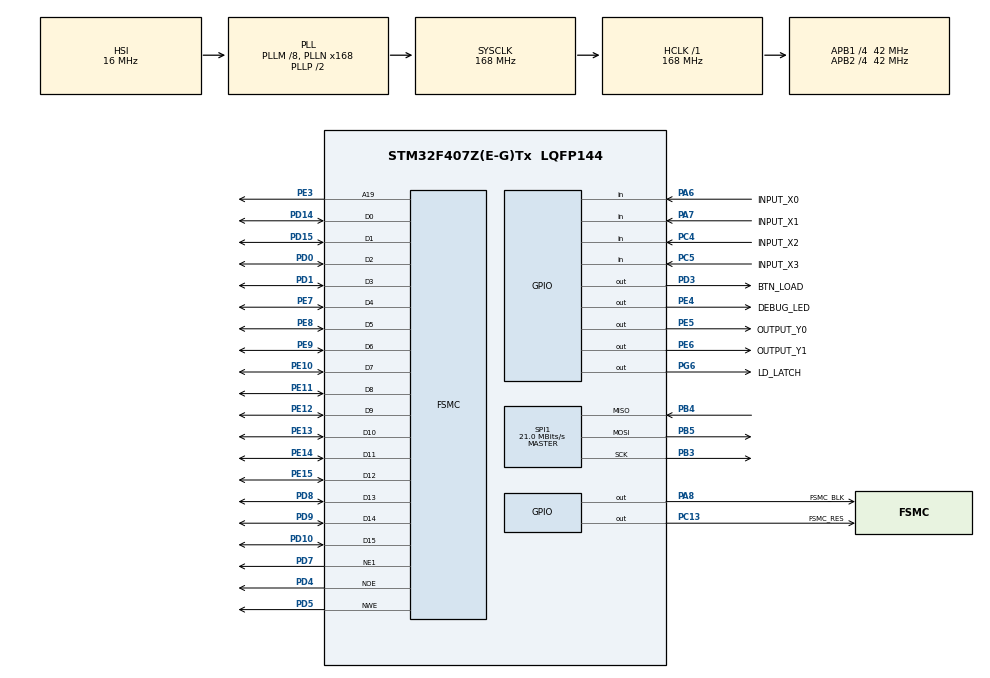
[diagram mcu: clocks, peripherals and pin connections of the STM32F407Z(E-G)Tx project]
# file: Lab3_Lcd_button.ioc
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FSMC.AddressSetupTime1=0xf
FSMC.BusTurnAroundDuration1=0
FSMC.DataSetupTime1=60
FSMC.ExtendedAddressSetupTime1=8
FSMC.ExtendedBusTurnAroundDuration1=0
FSMC.ExtendedDataSetupTime1=9
FSMC.ExtendedMode1=FSMC_EXTENDED_MODE_ENABLE
Mcu.Family=STM32F4
Mcu.Name=STM32F407Z(E-G)Tx
Mcu.Package=LQFP144
NVIC.PriorityGroup=NVIC_PRIORITYGROUP_4
NVIC.TIM2_IRQn=true\:0\:0\:false\:false\:true\:true\:true\:true
PA13.Mode=Serial_Wire
PA13.Signal=SYS_JTMS-SWDIO
PA14.Mode=Serial_Wire
PA14.Signal=SYS_JTCK-SWCLK
PA6.GPIO_Label=INPUT_X0
PA6.Signal=GPIO_Input
PA7.GPIO_Label=INPUT_X1
PA7.Signal=GPIO_Input
PA8.GPIO_Label=FSMC_BLK
PA8.Signal=GPIO_Output
PB3.Mode=Full_Duplex_Master
PB3.Signal=SPI1_SCK
PB4.Mode=Full_Duplex_Master
PB4.Signal=SPI1_MISO
PB5.Mode=Full_Duplex_Master
PB5.Signal=SPI1_MOSI
PC13-ANTI_TAMP.GPIO_Label=FSMC_RES
PC13-ANTI_TAMP.GPIO_PuPd=GPIO_PULLUP
PC13-ANTI_TAMP.Signal=GPIO_Output
PC4.GPIO_Label=INPUT_X2
PC4.Signal=GPIO_Input
PC5.GPIO_Label=INPUT_X3
PC5.Signal=GPIO_Input
PD0.Signal=FSMC_D2_DA2
PD1.Signal=FSMC_D3_DA3
PD10.Signal=FSMC_D15_DA15
PD14.Signal=FSMC_D0_DA0
PD15.Signal=FSMC_D1_DA1
PD3.GPIO_Label=BTN_LOAD
PD3.GPIO_PuPd=GPIO_PULLUP
PD3.Signal=GPIO_Output
PD4.Signal=FSMC_NOE
PD5.Signal=FSMC_NWE
PD7.Mode=NorPsramChipSelect1_1
PD7.Signal=FSMC_NE1
PD8.Signal=FSMC_D13_DA13
PD9.Signal=FSMC_D14_DA14
PE10.Signal=FSMC_D7_DA7
PE11.Signal=FSMC_D8_DA8
PE12.Signal=FSMC_D9_DA9
PE13.Signal=FSMC_D10_DA10
PE14.Signal=FSMC_D11_DA11
PE15.Signal=FSMC_D12_DA12
PE3.Signal=FSMC_A19
PE4.GPIO_Label=DEBUG_LED
PE4.GPIO_PuPd=GPIO_PULLUP
PE4.Signal=GPIO_Output
PE5.GPIO_Label=OUTPUT_Y0
PE5.GPIO_PuPd=GPIO_PULLUP
PE5.Signal=GPIO_Output
PE6.GPIO_Label=OUTPUT_Y1
PE6.GPIO_PuPd=GPIO_PULLUP
PE6.Signal=GPIO_Output
PE7.Signal=FSMC_D4_DA4
PE8.Signal=FSMC_D5_DA5
PE9.Signal=FSMC_D6_DA6
PG6.GPIO_Label=LD_LATCH
PG6.GPIO_PuPd=GPIO_PULLUP
PG6.Signal=GPIO_Output
PH0-OSC_IN.Mode=HSE-External-Oscillator
PH0-OSC_IN.Signal=RCC_OSC_IN
PH1-OSC_OUT.Mode=HSE-External-Oscillator
PH1-OSC_OUT.Signal=RCC_OSC_OUT
ProjectManager.HeapSize=0x200
ProjectManager.StackSize=0x400
ProjectManager.TargetToolchain=STM32CubeIDE
RCC.48MHZClocksFreq_Value=84000000
RCC.AHBFreq_Value=168000000
RCC.APB1CLKDivider=RCC_HCLK_DIV4
RCC.APB1Freq_Value=42000000
RCC.APB1TimFreq_Value=84000000
RCC.APB2CLKDivider=RCC_HCLK_DIV4
RCC.APB2Freq_Value=42000000
RCC.APB2TimFreq_Value=84000000
RCC.CortexFreq_Value=168000000
RCC.HCLKFreq_Value=168000000
RCC.HSE_VALUE=8000000
RCC.HSI_VALUE=16000000
RCC.LSE_VALUE=32768
RCC.PLLM=8
RCC.PLLN=168
RCC.SYSCLKFreq_VALUE=168000000
RCC.SYSCLKSource=RCC_SYSCLKSOURCE_PLLCLK
RCC.VCOOutputFreq_Value=336000000
SH.FSMC_A19.0=FSMC_A19,A19_1
SH.FSMC_D0_DA0.0=FSMC_D0,16b-d1
SH.FSMC_D10_DA10.0=FSMC_D10,16b-d1
SH.FSMC_D11_DA11.0=FSMC_D11,16b-d1
SH.FSMC_D12_DA12.0=FSMC_D12,16b-d1
SH.FSMC_D13_DA13.0=FSMC_D13,16b-d1
SH.FSMC_D14_DA14.0=FSMC_D14,16b-d1
SH.FSMC_D15_DA15.0=FSMC_D15,16b-d1
SH.FSMC_D1_DA1.0=FSMC_D1,16b-d1
SH.FSMC_D2_DA2.0=FSMC_D2,16b-d1
SH.FSMC_D3_DA3.0=FSMC_D3,16b-d1
SH.FSMC_D4_DA4.0=FSMC_D4,16b-d1
SH.FSMC_D5_DA5.0=FSMC_D5,16b-d1
SH.FSMC_D6_DA6.0=FSMC_D6,16b-d1
SH.FSMC_D7_DA7.0=FSMC_D7,16b-d1
SH.FSMC_D8_DA8.0=FSMC_D8,16b-d1
SH.FSMC_D9_DA9.0=FSMC_D9,16b-d1
SH.FSMC_NOE.0=FSMC_NOE,Lcd1
SH.FSMC_NWE.0=FSMC_NWE,Lcd1
SPI1.BaudRatePrescaler=SPI_BAUDRATEPRESCALER_2
SPI1.CalculateBaudRate=21.0 MBits/s
SPI1.Direction=SPI_DIRECTION_2LINES
SPI1.Mode=SPI_MODE_MASTER
SPI1.VirtualType=VM_MASTER
TIM2.Period=100-1
TIM2.Prescaler=840-1
VP_TIM2_VS_ClockSourceINT.Mode=Internal
board=custom

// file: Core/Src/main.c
/* USER CODE BEGIN Header */
/**
 ******************************************************************************
 * @file           : main.c
 * @brief          : Main program body
 ******************************************************************************
 * @attention
 *
 * <h2><center>&copy; Copyright (c) 2023 STMicroelectronics.
 * All rights reserved.</center></h2>
 *
 * This software component is licensed by ST under BSD 3-Clause license,
 * the "License"; You may not use this file except in compliance with the
 * License. You may obtain a copy of the License at:
 *                        opensource.org/licenses/BSD-3-Clause
 *
 ******************************************************************************
 */
/* USER CODE END Header */
#include "main.h"
#include "spi.h"
#include "tim.h"
#include "gpio.h"
#include "fsmc.h"
#include "fsm.h"

/* USER CODE BEGIN Includes */
#include "software_timer.h"
#include "led_7seg.h"
#include "button.h"
#include "lcd.h"
#include "picture.h"
/* USER CODE END Includes */

void SystemClock_Config(void);
/* USER CODE BEGIN PFP */
void system_init();
//void test_LedDebug();
//void test_LedY0();
//void test_LedY1();
//void test_7seg();
//void test_button();
//void test_lcd();
/* USER CODE END PFP */

int main(void) {

	/* MCU Configuration--------------------------------------------------------*/

	/* Reset of all peripherals, Initializes the Flash interface and the Systick. */
	HAL_Init();

	/* Configure the system clock */
	SystemClock_Config();

	/* Initialize all configured peripherals */
	MX_GPIO_Init();
	MX_TIM2_Init();
	MX_SPI1_Init();
	MX_FSMC_Init();
	/* USER CODE BEGIN 2 */
	system_init();
	/* USER CODE END 2 */

	/* Infinite loop */
	/* USER CODE BEGIN WHILE */
	while (1) {
		while (!flag_timer2)
			;
		flag_timer2 = 0;
		button_Scan();
		fsm_no_return();

		/* USER CODE END WHILE */

	}
}

void SystemClock_Config(void) {
	RCC_OscInitTypeDef RCC_OscInitStruct = { 0 };
	RCC_ClkInitTypeDef RCC_ClkInitStruct = { 0 };

	/** Configure the main internal regulator output voltage
	 */
	__HAL_RCC_PWR_CLK_ENABLE();
	__HAL_PWR_VOLTAGESCALING_CONFIG(PWR_REGULATOR_VOLTAGE_SCALE1);
	/** Initializes the RCC Oscillators according to the specified parameters
	 * in the RCC_OscInitTypeDef structure.
	 */
	RCC_OscInitStruct.OscillatorType = RCC_OSCILLATORTYPE_HSI;
	RCC_OscInitStruct.HSIState = RCC_HSI_ON;
	RCC_OscInitStruct.HSICalibrationValue = RCC_HSICALIBRATION_DEFAULT;
	RCC_OscInitStruct.PLL.PLLState = RCC_PLL_ON;
	RCC_OscInitStruct.PLL.PLLSource = RCC_PLLSOURCE_HSI;
	RCC_OscInitStruct.PLL.PLLM = 8;
	RCC_OscInitStruct.PLL.PLLN = 168;
	RCC_OscInitStruct.PLL.PLLP = RCC_PLLP_DIV2;
	RCC_OscInitStruct.PLL.PLLQ = 4;
	if (HAL_RCC_OscConfig(&RCC_OscInitStruct) != HAL_OK) {
		Error_Handler();
	}
	/** Initializes the CPU, AHB and APB buses clocks
	 */
	RCC_ClkInitStruct.ClockType = RCC_CLOCKTYPE_HCLK | RCC_CLOCKTYPE_SYSCLK
			| RCC_CLOCKTYPE_PCLK1 | RCC_CLOCKTYPE_PCLK2;
	RCC_ClkInitStruct.SYSCLKSource = RCC_SYSCLKSOURCE_PLLCLK;
	RCC_ClkInitStruct.AHBCLKDivider = RCC_SYSCLK_DIV1;
	RCC_ClkInitStruct.APB1CLKDivider = RCC_HCLK_DIV4;
	RCC_ClkInitStruct.APB2CLKDivider = RCC_HCLK_DIV4;

	if (HAL_RCC_ClockConfig(&RCC_ClkInitStruct, FLASH_LATENCY_5) != HAL_OK) {
		Error_Handler();
	}
}

/* USER CODE BEGIN 4 */
void system_init() {
	HAL_GPIO_WritePin(OUTPUT_Y0_GPIO_Port, OUTPUT_Y0_Pin, 0);
	HAL_GPIO_WritePin(OUTPUT_Y1_GPIO_Port, OUTPUT_Y1_Pin, 0);
	HAL_GPIO_WritePin(DEBUG_LED_GPIO_Port, DEBUG_LED_Pin, 0);
	timer_init();
	led7_init();
	button_init();
	lcd_init();
	setTimer2(50);
	/******/
	lcd_Clear(WHITE);
}

uint8_t count_led_debug = 0;
uint8_t count_led_Y0 = 0;
uint8_t count_led_Y1 = 0;

void test_LedDebug() {
	count_led_debug = (count_led_debug + 1) % 20;
	if (count_led_debug == 0) {
		HAL_GPIO_TogglePin(DEBUG_LED_GPIO_Port, DEBUG_LED_Pin);
	}
}

void test_LedY0() {
	count_led_Y0 = (count_led_Y0 + 1) % 100;
	if (count_led_Y0 > 40) {
		HAL_GPIO_WritePin(OUTPUT_Y0_GPIO_Port, OUTPUT_Y0_Pin, 1);
	} else {
		HAL_GPIO_WritePin(OUTPUT_Y0_GPIO_Port, OUTPUT_Y0_Pin, 0);
	}
}

void test_LedY1() {
	count_led_Y1 = (count_led_Y1 + 1) % 40;
	if (count_led_Y1 > 10) {
		HAL_GPIO_WritePin(OUTPUT_Y1_GPIO_Port, OUTPUT_Y1_Pin, 0);
	} else {
		HAL_GPIO_WritePin(OUTPUT_Y0_GPIO_Port, OUTPUT_Y1_Pin, 1);
	}
}

void test_7seg() {
	led7_SetDigit(0, 0, 0);
	led7_SetDigit(5, 1, 0);
	led7_SetDigit(4, 2, 0);
	led7_SetDigit(7, 3, 0);
}
void test_button() {
	for (int i = 0; i < 16; i++) {
		if (button_count[i] == 1) {
			lcd_ShowIntNum(140, 105, i, 2, BRED, WHITE, 32);
		}
	}
}
void test_lcd() {
	lcd_Fill(0, 0, 240, 20, BLUE);
	lcd_StrCenter(0, 2, "Hello World !!!", RED, BLUE, 16, 1);
	lcd_ShowStr(20, 30, "Test lcd screen", WHITE, RED, 24, 0);
	lcd_DrawCircle(60, 120, GREEN, 40, 1);
	lcd_DrawCircle(160, 120, BRED, 40, 0);
	lcd_ShowPicture(80, 200, 90, 90, gImage_logo);
}
/* USER CODE END 4 */

void Error_Handler(void) {
	__disable_irq();
	while (1) {
	}
}

/************************ (C) COPYRIGHT STMicroelectronics *****END OF FILE****/
